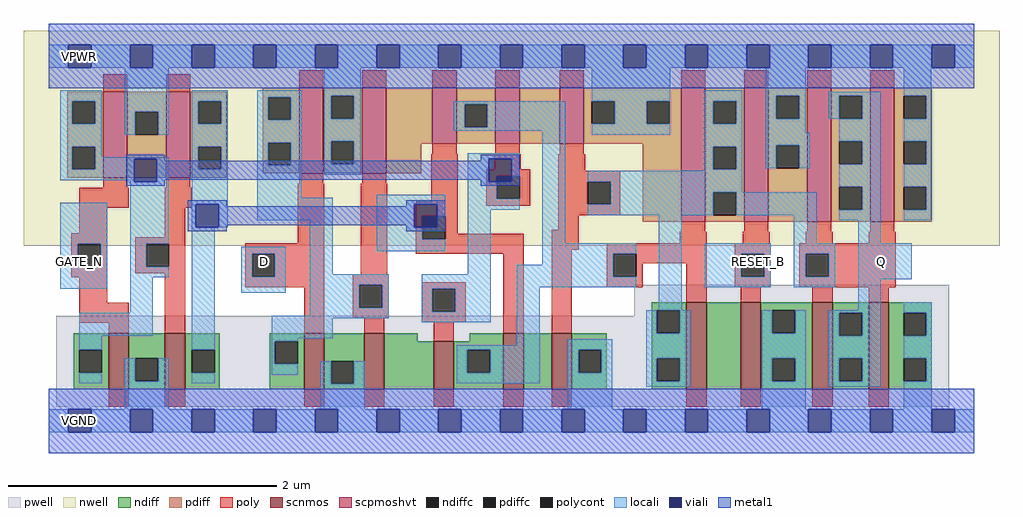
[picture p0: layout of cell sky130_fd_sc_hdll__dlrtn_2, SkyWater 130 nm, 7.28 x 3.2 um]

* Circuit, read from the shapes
.subckt sky130_fd_sc_hdll__dlrtn_2 D GATE_N RESET_B VGND VNB VPB VPWR Q
XM1 VGND GATE_N n1 VNB sky130_fd_pr__nfet_01v8 w=0.42 l=0.15
XM2 n2 n1 VGND VNB sky130_fd_pr__nfet_01v8 w=0.42 l=0.15
XM3 VGND D n3 VNB sky130_fd_pr__nfet_01v8 w=0.42 l=0.15
XM4 n4 n3 VGND VNB sky130_fd_pr__nfet_01v8 w=0.42 l=0.15
XM5 n5 n1 n4 VNB sky130_fd_pr__nfet_01v8 w=0.36 l=0.15
XM6 n6 n2 n5 VNB sky130_fd_pr__nfet_01v8 w=0.42 l=0.15
XM7 VGND n7 n6 VNB sky130_fd_pr__nfet_01v8 w=0.42 l=0.15
XM8 n8 n5 n7 VNB sky130_fd_pr__nfet_01v8 w=0.65 l=0.15
XM9 VGND RESET_B n8 VNB sky130_fd_pr__nfet_01v8 w=0.65 l=0.15
XM10 Q n7 VGND VNB sky130_fd_pr__nfet_01v8 w=0.65 l=0.15 m=2
XM11 VPWR GATE_N n1 VPB sky130_fd_pr__pfet_01v8_hvt w=0.64 l=0.18
XM12 n2 n1 VPWR VPB sky130_fd_pr__pfet_01v8_hvt w=0.64 l=0.18
XM13 VPWR D n3 VPB sky130_fd_pr__pfet_01v8_hvt w=0.64 l=0.18
XM14 n9 n3 VPWR VPB sky130_fd_pr__pfet_01v8_hvt w=0.64 l=0.18
XM15 n5 n2 n9 VPB sky130_fd_pr__pfet_01v8_hvt w=0.42 l=0.18
XM16 n10 n1 n5 VPB sky130_fd_pr__pfet_01v8_hvt w=0.42 l=0.18
XM17 VPWR n7 n10 VPB sky130_fd_pr__pfet_01v8_hvt w=0.42 l=0.18
XM18 n7 n5 VPWR VPB sky130_fd_pr__pfet_01v8_hvt w=1 l=0.18
XM19 VPWR RESET_B n7 VPB sky130_fd_pr__pfet_01v8_hvt w=1 l=0.18
XM20 Q n7 VPWR VPB sky130_fd_pr__pfet_01v8_hvt w=1 l=0.18 m=2
.ends

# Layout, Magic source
magic
tech sky130A
magscale 1 2
<< nwell >>
rect -38 261 1418 582
<< pwell >>
rect 873 157 1343 203
rect 11 21 1343 157
rect 29 -17 63 21
<< scnmos >>
rect 89 47 119 131
rect 173 47 203 131
rect 381 47 411 131
rect 470 47 500 131
rect 574 47 604 119
rect 678 47 708 131
rect 750 47 780 131
rect 951 47 981 177
rect 1032 47 1062 177
rect 1139 47 1169 177
rect 1223 47 1253 177
<< scpmoshvt >>
rect 81 363 117 491
rect 175 363 211 491
rect 373 369 409 497
rect 467 369 503 497
rect 572 413 608 497
rect 666 413 702 497
rect 762 413 798 497
rect 943 297 979 497
rect 1037 297 1073 497
rect 1131 297 1167 497
rect 1225 297 1261 497
<< ndiff >>
rect 37 106 89 131
rect 37 72 45 106
rect 79 72 89 106
rect 37 47 89 72
rect 119 93 173 131
rect 119 59 129 93
rect 163 59 173 93
rect 119 47 173 59
rect 203 106 255 131
rect 203 72 213 106
rect 247 72 255 106
rect 203 47 255 72
rect 329 119 381 131
rect 329 85 337 119
rect 371 85 381 119
rect 329 47 381 85
rect 411 89 470 131
rect 411 55 421 89
rect 455 55 470 89
rect 411 47 470 55
rect 500 119 550 131
rect 899 165 951 177
rect 899 131 907 165
rect 941 131 951 165
rect 628 119 678 131
rect 500 47 574 119
rect 604 106 678 119
rect 604 72 624 106
rect 658 72 678 106
rect 604 47 678 72
rect 708 47 750 131
rect 780 106 832 131
rect 780 72 790 106
rect 824 72 832 106
rect 780 47 832 72
rect 899 93 951 131
rect 899 59 907 93
rect 941 59 951 93
rect 899 47 951 59
rect 981 47 1032 177
rect 1062 165 1139 177
rect 1062 131 1079 165
rect 1113 131 1139 165
rect 1062 93 1139 131
rect 1062 59 1079 93
rect 1113 59 1139 93
rect 1062 47 1139 59
rect 1169 161 1223 177
rect 1169 127 1179 161
rect 1213 127 1223 161
rect 1169 93 1223 127
rect 1169 59 1179 93
rect 1213 59 1223 93
rect 1169 47 1223 59
rect 1253 161 1317 177
rect 1253 127 1275 161
rect 1309 127 1317 161
rect 1253 93 1317 127
rect 1253 59 1275 93
rect 1309 59 1317 93
rect 1253 47 1317 59
<< pdiff >>
rect 27 477 81 491
rect 27 443 35 477
rect 69 443 81 477
rect 27 409 81 443
rect 27 375 35 409
rect 69 375 81 409
rect 27 363 81 375
rect 117 461 175 491
rect 117 427 129 461
rect 163 427 175 461
rect 117 363 175 427
rect 211 477 265 491
rect 211 443 223 477
rect 257 443 265 477
rect 211 409 265 443
rect 211 375 223 409
rect 257 375 265 409
rect 211 363 265 375
rect 319 483 373 497
rect 319 449 327 483
rect 361 449 373 483
rect 319 415 373 449
rect 319 381 327 415
rect 361 381 373 415
rect 319 369 373 381
rect 409 485 467 497
rect 409 451 421 485
rect 455 451 467 485
rect 409 417 467 451
rect 409 383 421 417
rect 455 383 467 417
rect 409 369 467 383
rect 503 413 572 497
rect 608 472 666 497
rect 608 438 620 472
rect 654 438 666 472
rect 608 413 666 438
rect 702 413 762 497
rect 798 477 943 497
rect 798 443 810 477
rect 844 443 892 477
rect 926 443 943 477
rect 798 413 943 443
rect 503 369 555 413
rect 886 297 943 413
rect 979 477 1037 497
rect 979 443 991 477
rect 1025 443 1037 477
rect 979 409 1037 443
rect 979 375 991 409
rect 1025 375 1037 409
rect 979 341 1037 375
rect 979 307 991 341
rect 1025 307 1037 341
rect 979 297 1037 307
rect 1073 485 1131 497
rect 1073 451 1085 485
rect 1119 451 1131 485
rect 1073 411 1131 451
rect 1073 377 1085 411
rect 1119 377 1131 411
rect 1073 297 1131 377
rect 1167 485 1225 497
rect 1167 451 1179 485
rect 1213 451 1225 485
rect 1167 417 1225 451
rect 1167 383 1179 417
rect 1213 383 1225 417
rect 1167 349 1225 383
rect 1167 315 1179 349
rect 1213 315 1225 349
rect 1167 297 1225 315
rect 1261 485 1317 497
rect 1261 451 1275 485
rect 1309 451 1317 485
rect 1261 417 1317 451
rect 1261 383 1275 417
rect 1309 383 1317 417
rect 1261 349 1317 383
rect 1261 315 1275 349
rect 1309 315 1317 349
rect 1261 297 1317 315
<< ndiffc >>
rect 45 72 79 106
rect 129 59 163 93
rect 213 72 247 106
rect 337 85 371 119
rect 421 55 455 89
rect 907 131 941 165
rect 624 72 658 106
rect 790 72 824 106
rect 907 59 941 93
rect 1079 131 1113 165
rect 1079 59 1113 93
rect 1179 127 1213 161
rect 1179 59 1213 93
rect 1275 127 1309 161
rect 1275 59 1309 93
<< pdiffc >>
rect 35 443 69 477
rect 35 375 69 409
rect 129 427 163 461
rect 223 443 257 477
rect 223 375 257 409
rect 327 449 361 483
rect 327 381 361 415
rect 421 451 455 485
rect 421 383 455 417
rect 620 438 654 472
rect 810 443 844 477
rect 892 443 926 477
rect 991 443 1025 477
rect 991 375 1025 409
rect 991 307 1025 341
rect 1085 451 1119 485
rect 1085 377 1119 411
rect 1179 451 1213 485
rect 1179 383 1213 417
rect 1179 315 1213 349
rect 1275 451 1309 485
rect 1275 383 1309 417
rect 1275 315 1309 349
<< poly >>
rect 81 491 117 517
rect 175 491 211 517
rect 373 497 409 523
rect 467 497 503 523
rect 572 497 608 523
rect 666 497 702 523
rect 762 497 798 523
rect 943 497 979 523
rect 1037 497 1073 523
rect 1131 497 1167 523
rect 1225 497 1261 523
rect 572 398 608 413
rect 666 398 702 413
rect 762 398 798 413
rect 81 348 117 363
rect 175 348 211 363
rect 373 354 409 369
rect 467 354 503 369
rect 45 318 119 348
rect 173 318 213 348
rect 45 280 87 318
rect 33 264 87 280
rect 173 274 203 318
rect 33 230 43 264
rect 77 230 87 264
rect 33 214 87 230
rect 129 264 203 274
rect 371 265 411 354
rect 129 230 145 264
rect 179 230 203 264
rect 129 220 203 230
rect 45 176 87 214
rect 45 146 119 176
rect 89 131 119 146
rect 173 131 203 220
rect 293 249 411 265
rect 293 215 303 249
rect 337 215 411 249
rect 465 219 505 354
rect 570 327 610 398
rect 664 375 704 398
rect 547 305 610 327
rect 652 365 718 375
rect 652 331 668 365
rect 702 331 718 365
rect 652 321 718 331
rect 760 373 800 398
rect 760 357 852 373
rect 760 323 804 357
rect 838 323 852 357
rect 547 271 557 305
rect 591 279 610 305
rect 760 307 852 323
rect 760 285 790 307
rect 591 271 708 279
rect 547 249 708 271
rect 293 199 411 215
rect 381 131 411 199
rect 453 203 507 219
rect 453 169 463 203
rect 497 169 507 203
rect 453 153 507 169
rect 556 197 622 207
rect 556 163 572 197
rect 606 163 622 197
rect 470 131 500 153
rect 556 147 622 163
rect 574 119 604 147
rect 678 131 708 249
rect 750 255 790 285
rect 943 282 979 297
rect 1037 282 1073 297
rect 1131 282 1167 297
rect 1225 282 1261 297
rect 941 265 981 282
rect 1035 265 1075 282
rect 1129 265 1169 282
rect 1223 265 1263 282
rect 750 131 780 255
rect 832 249 981 265
rect 832 215 842 249
rect 876 235 981 249
rect 876 215 886 235
rect 832 199 886 215
rect 951 177 981 235
rect 1023 249 1077 265
rect 1023 215 1033 249
rect 1067 215 1077 249
rect 1023 199 1077 215
rect 1119 249 1263 265
rect 1119 215 1129 249
rect 1163 215 1263 249
rect 1119 199 1263 215
rect 1032 177 1062 199
rect 1139 177 1169 199
rect 1223 177 1253 199
rect 89 21 119 47
rect 173 21 203 47
rect 381 21 411 47
rect 470 21 500 47
rect 574 21 604 47
rect 678 21 708 47
rect 750 21 780 47
rect 951 21 981 47
rect 1032 21 1062 47
rect 1139 21 1169 47
rect 1223 21 1253 47
<< polycont >>
rect 43 230 77 264
rect 145 230 179 264
rect 303 215 337 249
rect 668 331 702 365
rect 804 323 838 357
rect 557 271 591 305
rect 463 169 497 203
rect 572 163 606 197
rect 842 215 876 249
rect 1033 215 1067 249
rect 1129 215 1163 249
<< locali >>
rect 0 527 29 561
rect 63 527 121 561
rect 155 527 213 561
rect 247 527 305 561
rect 339 527 397 561
rect 431 527 489 561
rect 523 527 581 561
rect 615 527 673 561
rect 707 527 765 561
rect 799 527 857 561
rect 891 527 949 561
rect 983 527 1041 561
rect 1075 527 1133 561
rect 1167 527 1225 561
rect 1259 527 1317 561
rect 1351 527 1380 561
rect 17 477 79 493
rect 17 443 35 477
rect 69 443 79 477
rect 17 409 79 443
rect 113 461 179 527
rect 113 427 129 461
rect 163 427 179 461
rect 213 477 267 493
rect 213 443 223 477
rect 257 443 267 477
rect 17 375 35 409
rect 69 393 79 409
rect 213 409 267 443
rect 69 391 179 393
rect 69 375 127 391
rect 17 359 127 375
rect 121 357 127 359
rect 161 357 179 391
rect 17 264 87 325
rect 17 230 43 264
rect 77 230 87 264
rect 17 197 87 230
rect 121 264 179 357
rect 121 230 145 264
rect 121 214 179 230
rect 213 375 223 409
rect 257 375 267 409
rect 213 323 267 375
rect 213 289 219 323
rect 253 289 267 323
rect 311 483 377 493
rect 311 449 327 483
rect 361 449 377 483
rect 311 415 377 449
rect 311 381 327 415
rect 361 381 377 415
rect 311 333 377 381
rect 411 485 465 527
rect 411 451 421 485
rect 455 451 465 485
rect 810 477 927 527
rect 411 417 465 451
rect 604 472 770 477
rect 604 438 620 472
rect 654 438 770 472
rect 604 433 770 438
rect 411 383 421 417
rect 455 383 465 417
rect 411 367 465 383
rect 625 391 702 399
rect 625 357 656 391
rect 690 365 702 391
rect 311 299 423 333
rect 121 161 155 214
rect 45 127 155 161
rect 45 106 79 127
rect 213 106 247 289
rect 287 249 353 260
rect 287 215 303 249
rect 337 215 353 249
rect 287 191 353 215
rect 389 219 423 299
rect 489 323 591 337
rect 489 289 545 323
rect 579 305 591 323
rect 489 271 557 289
rect 489 253 591 271
rect 625 331 668 357
rect 625 315 702 331
rect 625 219 659 315
rect 736 265 770 433
rect 844 443 892 477
rect 926 443 927 477
rect 810 427 927 443
rect 977 477 1034 493
rect 977 443 991 477
rect 1025 443 1034 477
rect 977 409 1034 443
rect 977 375 991 409
rect 1025 375 1034 409
rect 1069 485 1129 527
rect 1069 451 1085 485
rect 1119 451 1129 485
rect 1163 485 1241 491
rect 1163 451 1179 485
rect 1213 451 1241 485
rect 1069 430 1129 451
rect 1069 411 1135 430
rect 1069 377 1085 411
rect 1119 377 1135 411
rect 1179 417 1241 451
rect 1213 383 1241 417
rect 977 373 1034 375
rect 804 357 1034 373
rect 838 341 1034 357
rect 1179 349 1241 383
rect 838 323 991 341
rect 804 307 991 323
rect 1025 307 1145 341
rect 736 249 876 265
rect 736 233 842 249
rect 389 203 507 219
rect 389 169 463 203
rect 497 169 507 203
rect 389 157 507 169
rect 45 56 79 72
rect 113 59 129 93
rect 163 59 179 93
rect 113 17 179 59
rect 213 56 247 72
rect 332 153 507 157
rect 556 197 659 219
rect 556 163 572 197
rect 606 163 659 197
rect 332 123 423 153
rect 556 147 659 163
rect 698 215 842 233
rect 698 199 876 215
rect 332 119 371 123
rect 332 85 337 119
rect 698 113 732 199
rect 910 165 944 307
rect 1111 265 1145 307
rect 1213 315 1241 349
rect 1179 299 1241 315
rect 1275 485 1316 527
rect 1309 451 1316 485
rect 1275 417 1316 451
rect 1309 383 1316 417
rect 1275 349 1316 383
rect 1309 315 1316 349
rect 1275 299 1316 315
rect 1207 265 1241 299
rect 978 249 1077 265
rect 978 215 1033 249
rect 1067 215 1077 249
rect 978 199 1077 215
rect 1111 249 1173 265
rect 1111 215 1129 249
rect 1163 215 1173 249
rect 1111 199 1173 215
rect 1207 211 1287 265
rect 1207 165 1241 211
rect 891 131 907 165
rect 941 131 957 165
rect 608 106 732 113
rect 332 69 371 85
rect 405 55 421 89
rect 455 55 471 89
rect 608 72 624 106
rect 658 72 732 106
rect 608 56 732 72
rect 774 106 840 122
rect 774 72 790 106
rect 824 72 840 106
rect 405 17 471 55
rect 774 17 840 72
rect 891 93 957 131
rect 891 59 907 93
rect 941 59 957 93
rect 891 51 957 59
rect 1063 131 1079 165
rect 1113 131 1129 165
rect 1063 93 1129 131
rect 1063 59 1079 93
rect 1113 59 1129 93
rect 1063 17 1129 59
rect 1163 161 1241 165
rect 1163 127 1179 161
rect 1213 127 1241 161
rect 1163 93 1241 127
rect 1163 59 1179 93
rect 1213 59 1241 93
rect 1163 51 1241 59
rect 1275 161 1317 177
rect 1309 127 1317 161
rect 1275 93 1317 127
rect 1309 59 1317 93
rect 1275 17 1317 59
rect 0 -17 29 17
rect 63 -17 121 17
rect 155 -17 213 17
rect 247 -17 305 17
rect 339 -17 397 17
rect 431 -17 489 17
rect 523 -17 581 17
rect 615 -17 673 17
rect 707 -17 765 17
rect 799 -17 857 17
rect 891 -17 949 17
rect 983 -17 1041 17
rect 1075 -17 1133 17
rect 1167 -17 1225 17
rect 1259 -17 1317 17
rect 1351 -17 1380 17
<< viali >>
rect 29 527 63 561
rect 121 527 155 561
rect 213 527 247 561
rect 305 527 339 561
rect 397 527 431 561
rect 489 527 523 561
rect 581 527 615 561
rect 673 527 707 561
rect 765 527 799 561
rect 857 527 891 561
rect 949 527 983 561
rect 1041 527 1075 561
rect 1133 527 1167 561
rect 1225 527 1259 561
rect 1317 527 1351 561
rect 127 357 161 391
rect 219 289 253 323
rect 656 365 690 391
rect 656 357 668 365
rect 668 357 690 365
rect 545 305 579 323
rect 545 289 557 305
rect 557 289 579 305
rect 29 -17 63 17
rect 121 -17 155 17
rect 213 -17 247 17
rect 305 -17 339 17
rect 397 -17 431 17
rect 489 -17 523 17
rect 581 -17 615 17
rect 673 -17 707 17
rect 765 -17 799 17
rect 857 -17 891 17
rect 949 -17 983 17
rect 1041 -17 1075 17
rect 1133 -17 1167 17
rect 1225 -17 1259 17
rect 1317 -17 1351 17
<< metal1 >>
rect 0 561 1380 592
rect 0 527 29 561
rect 63 527 121 561
rect 155 527 213 561
rect 247 527 305 561
rect 339 527 397 561
rect 431 527 489 561
rect 523 527 581 561
rect 615 527 673 561
rect 707 527 765 561
rect 799 527 857 561
rect 891 527 949 561
rect 983 527 1041 561
rect 1075 527 1133 561
rect 1167 527 1225 561
rect 1259 527 1317 561
rect 1351 527 1380 561
rect 0 496 1380 527
rect 115 391 173 397
rect 115 357 127 391
rect 161 388 173 391
rect 644 391 702 397
rect 644 388 656 391
rect 161 360 656 388
rect 161 357 173 360
rect 115 351 173 357
rect 644 357 656 360
rect 690 357 702 391
rect 644 351 702 357
rect 207 323 265 329
rect 207 289 219 323
rect 253 320 265 323
rect 533 323 591 329
rect 533 320 545 323
rect 253 292 545 320
rect 253 289 265 292
rect 207 283 265 289
rect 533 289 545 292
rect 579 289 591 323
rect 533 283 591 289
rect 0 17 1380 48
rect 0 -17 29 17
rect 63 -17 121 17
rect 155 -17 213 17
rect 247 -17 305 17
rect 339 -17 397 17
rect 431 -17 489 17
rect 523 -17 581 17
rect 615 -17 673 17
rect 707 -17 765 17
rect 799 -17 857 17
rect 891 -17 949 17
rect 983 -17 1041 17
rect 1075 -17 1133 17
rect 1167 -17 1225 17
rect 1259 -17 1317 17
rect 1351 -17 1380 17
rect 0 -48 1380 -17
<< labels >>
flabel locali s 1041 221 1075 255 0 FreeSans 200 0 0 0 RESET_B
port 3 nsew signal input
flabel locali s 305 221 339 255 0 FreeSans 200 0 0 0 D
port 1 nsew signal input
flabel locali s 29 221 63 255 0 FreeSans 200 0 0 0 GATE_N
port 2 nsew signal input
flabel locali s 1225 221 1259 255 0 FreeSans 200 0 0 0 Q
port 8 nsew signal output
flabel metal1 s 29 -17 63 17 0 FreeSans 200 0 0 0 VGND
port 4 nsew ground bidirectional
flabel metal1 s 29 527 63 561 0 FreeSans 200 0 0 0 VPWR
port 7 nsew power bidirectional
flabel nwell s 29 527 63 561 0 FreeSans 200 0 0 0 VPB
port 6 nsew power bidirectional
flabel nwell s 46 544 46 544 0 FreeSans 200 0 0 0 VPB
port 6 nsew
flabel pwell s 29 -17 63 17 0 FreeSans 200 0 0 0 VNB
port 5 nsew ground bidirectional
flabel pwell s 46 0 46 0 0 FreeSans 200 0 0 0 VNB
port 5 nsew
rlabel comment s 0 0 0 0 4 dlrtp_2
<< properties >>
string LEFsite unithd
string LEFclass CORE
string FIXED_BBOX 0 0 1380 544
string GDS_FILE $PDKPATH/libs.ref/sky130_fd_sc_hdll/gds/sky130_fd_sc_hdll.gds
string LEFsymmetry X Y R90
string GDS_END 1008306
string GDS_START 996946
string LEFproperties maskLayoutSubType "abstract" prCellType "standard" originalViewName "layout"
string path 0.000 0.000 34.500 0.000 
<< end >>
